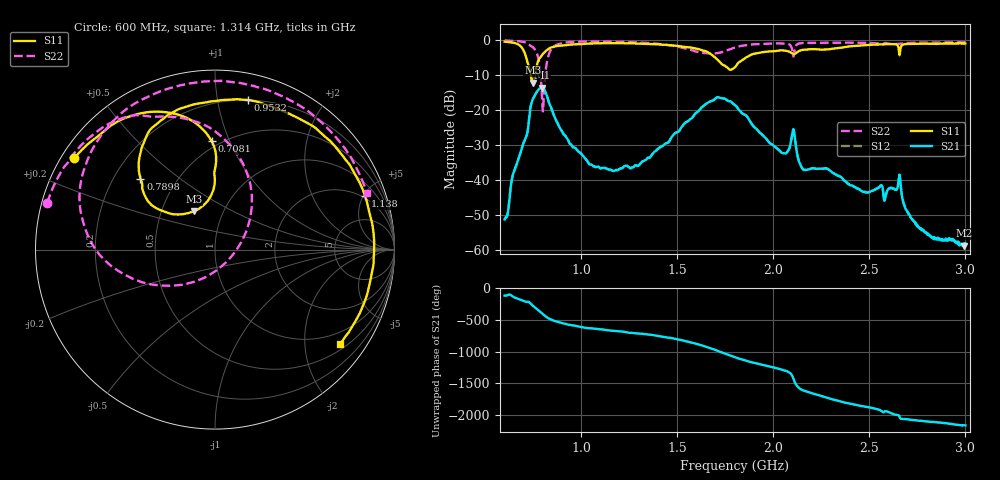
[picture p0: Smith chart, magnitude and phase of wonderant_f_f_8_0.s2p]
#  HZ  S  RI  R  50.00
! Rohde & Schwarz ZVB8 2Ports - Version 2.81 - 1145.1010k08 SN: 100113
! Date: 2016-05-17 22:37:47
! Measurements: S11 S21 S12 S22
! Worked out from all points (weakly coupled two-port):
!   1000 points, 600 MHz to 3 GHz, reference 50 ohm
!   highest |S21| = -13.70 dB at 794.6 MHz (marker M1); lowest = -58.8 dB at 2.993 GHz (marker M2)
!   lowest |S11| = -12.3 dB at 746.5 MHz (marker M3), VSWR 1.64, Z = 36.3 + j16.5 ohm
!   |S11| at or under -10 dB: 735.8 MHz to 756.9 MHz (21.17 MHz wide, 2.84 % of centre)
!   |S22| runs from -20.5 to -0.3 dB; largest |S21 - S12| = 0.0025
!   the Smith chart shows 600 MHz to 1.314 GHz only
!   S11 on the Smith chart (normalised r, x): 600 MHz: 0.04, +0.30; 708.1 MHz: 0.45, +0.86; 789.8 MHz: 0.31, +0.37; 953.2 MHz: 0.20, +1.22; 1.138 GHz: 1.85, +5.16; 1.314 GHz: 0.65, -2.85
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6e8  -0.7839 0.5087  -0.00127 -0.00239  -0.00133 -0.00239  -0.9348 0.2617
7.081081e8  -0.0183 0.604  -0.0321 0.0209  -0.0323 0.0207  -0.5679 0.7115
7.465465e8  -0.1176 0.2133  0.0173 0.139  0.0169 0.1391  -0.2404 0.7402
7.897898e8  -0.4153 0.3954  0.186 -0.0853  0.1859 -0.0843  0.1963 0.1746
7.945946e8  -0.4223 0.4266  0.1637 -0.126  0.165 -0.1244  0.1504 0.0477
8.162162e8  -0.4109 0.5572  -0.00526 -0.1687  -0.00451 -0.1694  -0.3522 -0.1945
8.474474e8  -0.3088 0.7138  -0.0783 -0.0582  -0.0782 -0.0584  -0.7358 0.1578
9.531532e8  0.1832 0.8335  -0.0203 0.0218  -0.0203 0.0216  -0.4694 0.7999
1.001201e9  0.4 0.7628  -0.00588 0.0223  -0.006 0.0222  -0.2726 0.8929
1.138138e9  0.8363 0.297  0.00793 0.0117  0.00792 0.0117  0.3093 0.8828
1.313514e9  0.6951 -0.5259  0.0177 0.000648  0.0177 0.000718  0.8458 0.3129
1.4e9  0.349 -0.7804  0.0229 -0.0155  0.0229 -0.0155  0.8571 -0.1192
1.616216e9  -0.5865 -0.4221  -0.0985 -0.0143  -0.0984 -0.0148  0.1365 -0.6411
1.801201e9  -0.4058 -0.0339  0.1138 -0.0209  0.1136 -0.0203  -0.4065 -0.6557
1.8997e9  -0.5394 0.3177  -0.00675 -0.056  -0.00624 -0.0563  -0.7834 -0.3502
2.027027e9  0.023 0.6946  -0.0264 0.00426  -0.0264 0.00422  -0.8491 0.246
2.103904e9  0.4037 0.4805  0.05 0.0161  0.0498 0.0159  -0.4575 0.3456
2.2e9  0.7273 0.0792  -0.012 0.00798  -0.012 0.00795  -0.4742 0.7619
2.409009e9  0.2118 -0.7765  0.00759 -0.00326  0.00759 -0.00329  0.3155 0.8454
2.601201e9  -0.6007 -0.6183  -0.00665 -0.00346  -0.00668 -0.00335  0.7925 0.3672
2.992793e9  -0.6691 0.5698  0.00115 3.64e-05  0.00118 3.46e-05  0.5526 -0.7274
3e9  -0.6529 0.5868  0.00123 2.19e-07  0.00122 -2.66e-05  0.5375 -0.739
